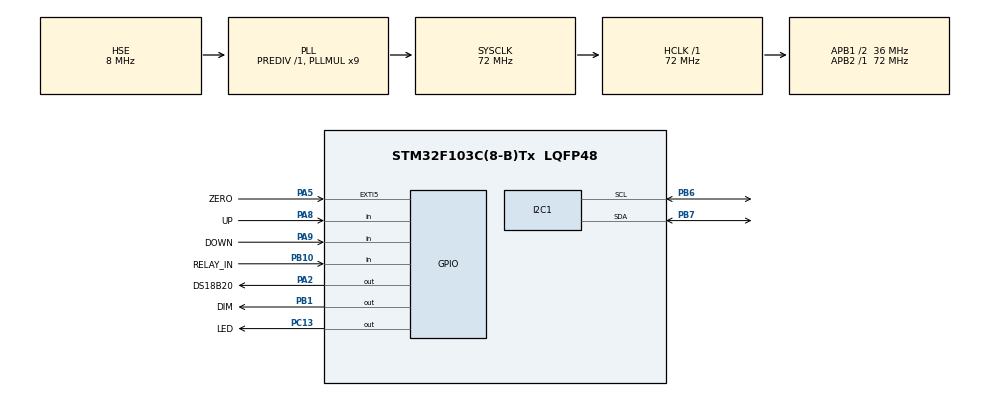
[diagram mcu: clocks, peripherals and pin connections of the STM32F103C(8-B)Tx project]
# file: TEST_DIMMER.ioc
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Mcu.Family=STM32F1
Mcu.Name=STM32F103C(8-B)Tx
Mcu.Package=LQFP48
NVIC.EXTI9_5_IRQn=true\:0\:0\:false\:false\:true\:true\:true\:true
NVIC.I2C1_ER_IRQn=true\:0\:0\:false\:false\:true\:true\:true\:true
NVIC.I2C1_EV_IRQn=true\:0\:0\:false\:false\:true\:true\:true\:true
NVIC.PriorityGroup=NVIC_PRIORITYGROUP_4
NVIC.TIM2_IRQn=true\:0\:0\:false\:false\:true\:true\:true\:true
NVIC.TIM3_IRQn=true\:0\:0\:false\:false\:true\:true\:true\:true
NVIC.TIM4_IRQn=true\:0\:0\:false\:false\:true\:true\:true\:true
PA13.Mode=Serial_Wire
PA13.Signal=SYS_JTMS-SWDIO
PA14.Mode=Serial_Wire
PA14.Signal=SYS_JTCK-SWCLK
PA2.GPIO_Label=DS18B20
PA2.Signal=GPIO_Output
PA5.GPIO_Label=ZERO
PA5.Signal=GPXTI5
PA8.GPIO_Label=UP
PA8.GPIO_PuPd=GPIO_PULLUP
PA8.Signal=GPIO_Input
PA9.GPIO_Label=DOWN
PA9.GPIO_PuPd=GPIO_PULLUP
PA9.Signal=GPIO_Input
PB1.GPIO_Label=DIM
PB1.Signal=GPIO_Output
PB10.GPIO_Label=RELAY_IN
PB10.GPIO_PuPd=GPIO_PULLUP
PB10.Signal=GPIO_Input
PB6.Mode=I2C
PB6.Signal=I2C1_SCL
PB7.Mode=I2C
PB7.Signal=I2C1_SDA
PC13-TAMPER-RTC.GPIO_Label=LED
PC13-TAMPER-RTC.Signal=GPIO_Output
PD0-OSC_IN.Mode=HSE-External-Oscillator
PD0-OSC_IN.Signal=RCC_OSC_IN
PD1-OSC_OUT.Mode=HSE-External-Oscillator
PD1-OSC_OUT.Signal=RCC_OSC_OUT
ProjectManager.HeapSize=0x200
ProjectManager.StackSize=0x400
ProjectManager.TargetToolchain=MDK-ARM V5.32
RCC.AHBFreq_Value=72000000
RCC.APB1CLKDivider=RCC_HCLK_DIV2
RCC.APB1Freq_Value=36000000
RCC.APB1TimFreq_Value=72000000
RCC.APB2Freq_Value=72000000
RCC.APB2TimFreq_Value=72000000
RCC.HCLKFreq_Value=72000000
RCC.PLLMUL=RCC_PLL_MUL9
RCC.PLLSourceVirtual=RCC_PLLSOURCE_HSE
RCC.SYSCLKFreq_VALUE=72000000
RCC.SYSCLKSource=RCC_SYSCLKSOURCE_PLLCLK
RCC.USBFreq_Value=72000000
TIM2.Period=20000-1
TIM2.Prescaler=720-1
TIM3.AutoReloadPreload=TIM_AUTORELOAD_PRELOAD_ENABLE
TIM3.Period=75-1
TIM3.Prescaler=72-1
TIM4.Period=0xffff-1
TIM4.Prescaler=72-1
VP_TIM2_VS_ClockSourceINT.Mode=Internal
VP_TIM3_VS_ClockSourceINT.Mode=Internal
VP_TIM4_VS_ClockSourceINT.Mode=Internal
board=custom

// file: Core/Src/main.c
/* USER CODE BEGIN Header */
/**
  ******************************************************************************
  * @file           : main.c
  * @brief          : Main program body
  ******************************************************************************
  * @attention
  *
  * Copyright (c) 2024 STMicroelectronics.
  * All rights reserved.
  *
  * This software is licensed under terms that can be found in the LICENSE file
  * in the root directory of this software component.
  * If no LICENSE file comes with this software, it is provided AS-IS.
  *
  ******************************************************************************
  */
/* USER CODE END Header */
#include "main.h"
#include "i2c.h"
#include "tim.h"
#include "gpio.h"

/* USER CODE BEGIN Includes */
#include "stdbool.h"
#include "ds18b20.h"
#include "i2c-lcd.h"
#include "delay_timer.h"
#include "stdio.h"
#include "string.h"
#include "button.h"
/* USER CODE END Includes */

/* USER CODE BEGIN PV */
Button_t btUp, btDown;
CLCD_I2C_Name lcd;
/* USER CODE END PV */

void SystemClock_Config(void);

/* USER CODE BEGIN 0 */
#define SAMPLING_TIME 200
#define MAX 128
#define MIN 0
float Temp;
typedef struct
{
	uint8_t setPoint;
	float kp;
	float ki;
	float kd;
	int16_t prevError;
	int16_t error;
	int16_t P;
	int16_t I;
	int16_t D;
}PID_t;
volatile PID_t pid;
volatile int16_t total;
char dataLine1[16], dataLine2[16];
volatile bool zero;
volatile uint8_t i = 0;
volatile uint8_t dim = 0;
uint64_t timeLed;
uint8_t check;
long map(long x, long in_min, long in_max, long out_min, long out_max) {
  return (x - in_min) * (out_max - out_min) / (in_max - in_min) + out_min;
}
long constrain (long input, long minValue, long maxValue)
{
	if(input < minValue)
	{
		return minValue;
	}
	else if (input > maxValue)
	{
		return maxValue;
	}
	else
	{
		return input;
	}
}
void HAL_GPIO_EXTI_Callback(uint16_t GPIO_Pin) {
	if(GPIO_Pin == ZERO_Pin)			/// 50hz = 0.02s
	{
		zero = true;
		i = 0;
		HAL_GPIO_WritePin(DIM_GPIO_Port, DIM_Pin, 0);
	}
}
void HAL_TIM_PeriodElapsedCallback(TIM_HandleTypeDef *htim) {
	if(htim->Instance == htim3.Instance)		// 75us	= 0.0013
	{
			if (i >= dim) {
				HAL_GPIO_WritePin(DIM_GPIO_Port, DIM_Pin, 1);
				i = 0;
				zero = false;
			} else {
				i++;
			}
	}
	else if(htim->Instance == htim2.Instance)			// 200ms
	{
			HAL_GPIO_TogglePin(LED_GPIO_Port, LED_Pin);

			pid.error = pid.setPoint -  Temp - 1 ;

			pid.P = pid.kp * pid.error;
			pid.I += pid.ki * pid.error;
			if(pid.I > MAX)
				pid.I = MAX;
			else if (pid.I < MIN)
			{
				pid.I = MIN;
			}
			pid.D = pid.kd * ((pid.error - pid.prevError) / SAMPLING_TIME);

			total = pid.P + pid.I + pid.D;
			pid.prevError = pid.error;
			total = constrain(total, MIN, MAX);
						//
			if(Temp >= pid.setPoint + 1)
			{
				 dim = 128;
			}
			else
			{
				dim = map(total , 0, 128, 128, 10);
			}
		}
}
void bt_press_callback(Button_t *button)
{
	if(button == &btDown)
	{
		pid.setPoint--;
	}
	if (button == &btUp)
	{
		pid.setPoint++;
	}

}
/* USER CODE END 0 */

int main(void)
{

  /* MCU Configuration--------------------------------------------------------*/

  /* Reset of all peripherals, Initializes the Flash interface and the Systick. */
  HAL_Init();

  /* Configure the system clock */
  SystemClock_Config();

  /* Initialize all configured peripherals */
  MX_GPIO_Init();
  MX_TIM3_Init();
  MX_TIM4_Init();
  MX_I2C1_Init();
  MX_TIM2_Init();
  /* USER CODE BEGIN 2 */
	HAL_TIM_Base_Start_IT(&htim2);			//
	HAL_TIM_Base_Start_IT(&htim3);
	Button_Init(&btUp, UP_GPIO_Port, UP_Pin);
	Button_Init(&btDown, DOWN_GPIO_Port, DOWN_Pin);
	DS18B20_Init(DS18B20_Resolution_12bits);
	CLCD_I2C_Init(&lcd,&hi2c1,0x4e,16,2);
	CLCD_I2C_Clear(&lcd);

	pid.kp = 11;
	pid.ki = 0.5;
	pid.kd = 0;
	pid.setPoint = 30;
//	DELAY_TIM_Init(&htim4);
  /* USER CODE END 2 */

  /* Infinite loop */
  /* USER CODE BEGIN WHILE */
	// welcome
	{
		sprintf(dataLine1 , " HE THONG DIEU");
		CLCD_I2C_SetCursor(&lcd, 1,0);
		CLCD_I2C_WriteString(&lcd, dataLine1);
		sprintf(dataLine1 , "KHIEN NHIET DO");
		CLCD_I2C_SetCursor(&lcd, 1,2);
		CLCD_I2C_WriteString(&lcd, dataLine1);
		HAL_Delay(1500);
		CLCD_I2C_Clear(&lcd);
	}
  while (1)
  {
		bt_handle(&btUp);
		bt_handle(&btDown);
		//HAL_GPIO_WritePin(DIM_GPIO_Port, DIM_Pin, 0);

		if(HAL_GetTick() - timeLed > 100)
		{
				DS18B20_ReadAll();
				DS18B20_StartAll();

				for(int i = 0; i < DS18B20_Quantity(); i++)
				{
						DS18B20_GetTemperature(i, &Temp);
				}

				sprintf(dataLine1 , "PV : %2.2f", Temp);
				CLCD_I2C_SetCursor(&lcd, 2,0);
				CLCD_I2C_WriteString(&lcd, dataLine1);
				sprintf(dataLine2 , "SV : %d", pid.setPoint);
				CLCD_I2C_SetCursor(&lcd, 2,2);
				CLCD_I2C_WriteString(&lcd, dataLine2);
				memset(dataLine1, '\0', sizeof(dataLine1));
				memset(dataLine2, '\0', sizeof(dataLine2));
				timeLed = HAL_GetTick();
		}
    /* USER CODE END WHILE */

  }
}

void SystemClock_Config(void)
{
  RCC_OscInitTypeDef RCC_OscInitStruct = {0};
  RCC_ClkInitTypeDef RCC_ClkInitStruct = {0};

  /** Initializes the RCC Oscillators according to the specified parameters
  * in the RCC_OscInitTypeDef structure.
  */
  RCC_OscInitStruct.OscillatorType = RCC_OSCILLATORTYPE_HSE;
  RCC_OscInitStruct.HSEState = RCC_HSE_ON;
  RCC_OscInitStruct.HSEPredivValue = RCC_HSE_PREDIV_DIV1;
  RCC_OscInitStruct.HSIState = RCC_HSI_ON;
  RCC_OscInitStruct.PLL.PLLState = RCC_PLL_ON;
  RCC_OscInitStruct.PLL.PLLSource = RCC_PLLSOURCE_HSE;
  RCC_OscInitStruct.PLL.PLLMUL = RCC_PLL_MUL9;
  if (HAL_RCC_OscConfig(&RCC_OscInitStruct) != HAL_OK)
  {
    Error_Handler();
  }

  /** Initializes the CPU, AHB and APB buses clocks
  */
  RCC_ClkInitStruct.ClockType = RCC_CLOCKTYPE_HCLK|RCC_CLOCKTYPE_SYSCLK
                              |RCC_CLOCKTYPE_PCLK1|RCC_CLOCKTYPE_PCLK2;
  RCC_ClkInitStruct.SYSCLKSource = RCC_SYSCLKSOURCE_PLLCLK;
  RCC_ClkInitStruct.AHBCLKDivider = RCC_SYSCLK_DIV1;
  RCC_ClkInitStruct.APB1CLKDivider = RCC_HCLK_DIV2;
  RCC_ClkInitStruct.APB2CLKDivider = RCC_HCLK_DIV1;

  if (HAL_RCC_ClockConfig(&RCC_ClkInitStruct, FLASH_LATENCY_2) != HAL_OK)
  {
    Error_Handler();
  }
}

void Error_Handler(void)
{
  __disable_irq();
  while (1)
  {
  }
}
